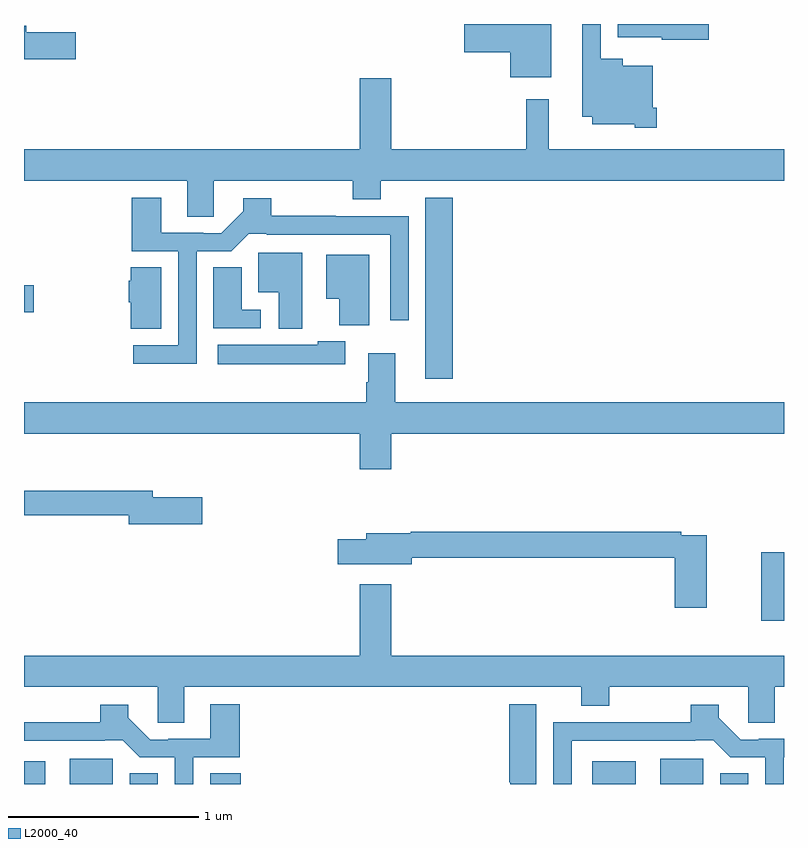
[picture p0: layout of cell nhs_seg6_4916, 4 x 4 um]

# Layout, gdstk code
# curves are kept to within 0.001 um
import gdstk
lib = gdstk.Library(unit=1e-6, precision=1e-09)
def R(c, l, rs):  # rectangles x0, y0, x1, y1
    for r in rs: c.add(gdstk.rectangle(r[:2], r[2:], *l))
def P(c, l, *ps):  # polygons
    for p in ps: c.add(gdstk.Polygon(p, *l))
L2000_40 = (2000, 40)

nhs_seg6_4916 = lib.new_cell('nhs_seg6_4916')
R(nhs_seg6_4916, L2000_40, [(403,937.5,403.111,937.621), (403.241,937.5,403.468,937.633), (403.556,937.5,403.705,937.556), (403.979,937.5,404.14,937.556), (405.992,937.5,406.219,937.621), (406.349,937.5,406.576,937.633), (406.664,937.5,406.813,937.556), (406.88,938.358,407,938.719), (405.113,939.633,405.257,940.585), (403,939.982,403.051,940.124)])
P(nhs_seg6_4916, L2000_40, [(406.603,941.5),(406.124,941.5),(406.124,941.429),(406.356,941.429),(406.356,941.417),(406.603,941.417)],
  [(405.775,941.5),(405.56,941.5),(405.56,941.498),(405.318,941.498),(405.318,941.351),(405.56,941.351),(405.56,941.219),(405.775,941.219)],
  [(406.331,941.059),(406.309,941.059),(406.309,941.281),(406.15,941.281),(406.15,941.317),(406.035,941.317),(406.035,941.5),(405.938,941.5),(405.938,941.012),(405.992,941.012),(405.992,940.973),(406.215,940.973),(406.215,940.955),(406.331,940.955)],
  [(403.273,941.456),(403.012,941.456),(403.012,941.492),(403,941.492),(403,941.314),(403.273,941.314)],
  [(403.998,940.676),(404.731,940.676),(404.731,940.577),(404.878,940.577),(404.878,940.676),(407,940.676),(407,940.84),(405.762,940.84),(405.762,941.104),(405.643,941.104),(405.643,940.84),(404.932,940.84),(404.932,941.215),(404.768,941.215),(404.768,940.84),(403,940.84),(403,940.676),(403.859,940.676),(403.859,940.486),(403.998,940.486)],
  [(403.908,940.305),(404.092,940.305),(404.182,940.395),(404.278,940.395),(404.278,940.392),(404.927,940.392),(404.928,939.942),(405.024,939.942),(405.024,940.488),(404.642,940.488),(404.642,940.49),(404.301,940.49),(404.301,940.582),(404.153,940.582),(404.153,940.514),(404.037,940.398),(403.943,940.398),(403.943,940.401),(403.723,940.401),(403.723,940.585),(403.568,940.585),(403.568,940.305),(403.812,940.305),(403.812,939.81),(403.575,939.81),(403.575,939.713),(403.908,939.713)],
  [(404.464,940.297),(404.234,940.297),(404.234,940.088),(404.342,940.088),(404.342,939.896),(404.464,939.896)],
  [(404.818,940.285),(404.591,940.285),(404.591,940.055),(404.66,940.055),(404.66,939.914),(404.818,939.914)],
  [(403.723,940.22),(403.562,940.22),(403.562,940.149),(403.55,940.149),(403.55,940.035),(403.562,940.035),(403.562,939.895),(403.723,939.895)],
  [(404.245,939.996),(404.146,939.996),(404.146,940.22),(403.997,940.22),(403.997,939.9),(404.245,939.9)],
  [(404.692,939.829),(404.547,939.829),(404.547,939.811),(404.019,939.811),(404.019,939.71),(404.692,939.71)],
  [(404.932,939.344),(407,939.344),(407,939.508),(404.953,939.508),(404.953,939.766),(404.813,939.766),(404.813,939.614),(404.801,939.614),(404.801,939.508),(403,939.508),(403,939.344),(404.768,939.344),(404.768,939.156),(404.932,939.156)],
  [(403.939,939.009),(403.678,939.009),(403.678,939.043),(403,939.043),(403,938.914),(403.55,938.914),(403.55,938.867),(403.939,938.867)],
  [(406.594,938.808),(406.46,938.808),(406.46,938.828),(405.036,938.828),(405.036,938.821),(404.801,938.821),(404.801,938.787),(404.652,938.787),(404.652,938.657),(405.04,938.657),(405.04,938.692),(406.424,938.692),(406.424,938.427),(406.594,938.427)],
  [(403.843,938.012),(405.932,938.012),(405.932,937.913),(406.08,937.913),(406.08,938.012),(406.812,938.012),(406.812,937.822),(406.951,937.822),(406.951,938.012),(407,938.012),(407,938.176),(404.932,938.176),(404.932,938.551),(404.768,938.551),(404.768,938.176),(403,938.176),(403,938.012),(403.704,938.012),(403.704,937.822),(403.843,937.822)],
  [(405.697,937.921),(405.554,937.921),(405.554,937.508),(405.559,937.508),(405.559,937.5),(405.697,937.5)],
  [(403.89,937.641),(404.135,937.641),(404.135,937.921),(403.979,937.921),(403.979,937.737),(403.759,937.737),(403.759,937.734),(403.665,937.734),(403.549,937.85),(403.549,937.918),(403.402,937.918),(403.402,937.826),(403.06,937.826),(403.06,937.824),(403,937.824),(403,937.728),(403.424,937.728),(403.424,937.731),(403.52,937.731),(403.61,937.641),(403.794,937.641),(403.794,937.5),(403.89,937.5)],
  [(405.882,937.728),(406.532,937.728),(406.532,937.731),(406.628,937.731),(406.718,937.641),(406.902,937.641),(406.902,937.5),(406.998,937.5),(406.998,937.641),(407,937.641),(407,937.737),(406.867,937.737),(406.867,937.734),(406.773,937.734),(406.657,937.85),(406.657,937.918),(406.51,937.918),(406.51,937.826),(406.168,937.826),(406.168,937.824),(405.786,937.824),(405.786,937.5),(405.882,937.5)])

lib.write_gds('nhs_seg6_4916.gds')
